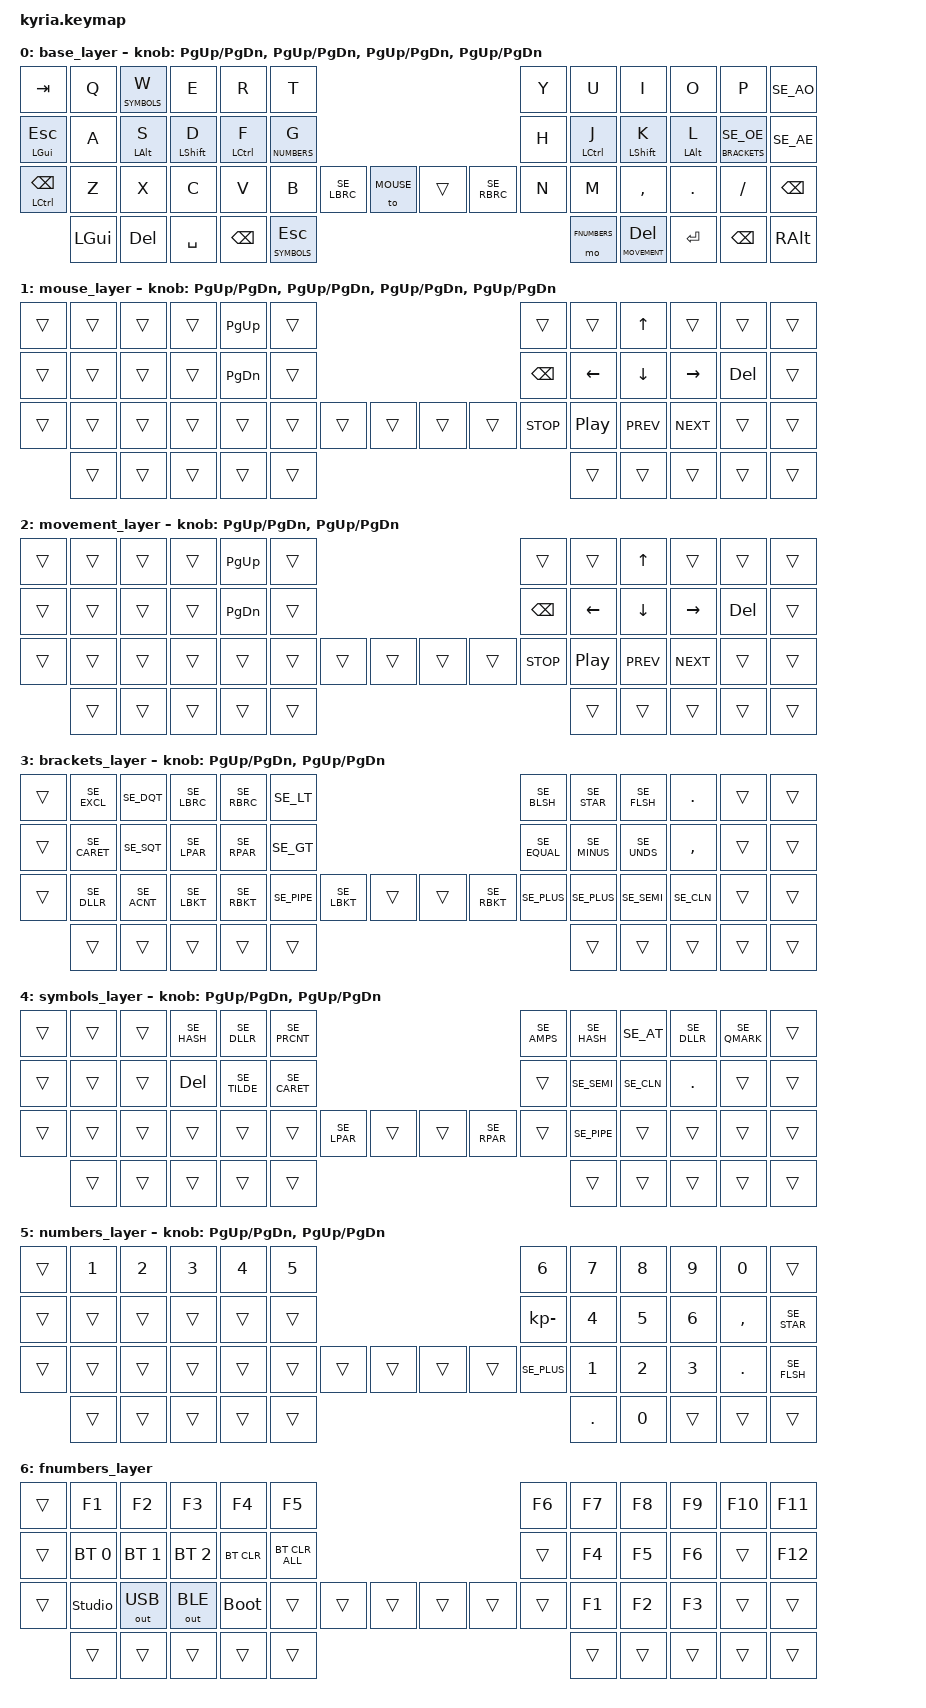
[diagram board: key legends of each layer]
/*
 * Copyright (c) 2020 The ZMK Contributors
 *
 * SPDX-License-Identifier: MIT
 */

#include <behaviors.dtsi>
#include <dt-bindings/zmk/keys.h>
#include <dt-bindings/zmk/bt.h>
#include <dt-bindings/zmk/outputs.h>
#include "swedish_keys.h"

#define BASE       0
#define MOUSE      1
#define MOVEMENT   2
#define BRACKETS   3
#define SYMBOLS    4
#define NUMBERS    5
#define FNUMBERS   6

// kyriaL
// bt addr E1:D8:2A:8C:D5:C8
// kyriaR
// bt addr F0:04:13:99:D9:D6


/ {

  behaviors {
        // Customized mod_tap and layer_tap:
        // - Enables quick_tap. Useful for backspace/space.
        // - Switch to balanced flavor to allow for fast (back)space + character rollovers.
        hr: custom_mod_tap {
            compatible = "zmk,behavior-hold-tap";
            label = "HOMEROW_MODS";
            #binding-cells = <2>;
            tapping-term-ms = <150>;
            quick_tap_ms = <0>;
            flavor = "tap-preferred";
            bindings = <&kp>, <&kp>;
        };
        ltw: custom_layer_tap {
            compatible = "zmk,behavior-hold-tap";
            label = "LAYER_TAP";
            #binding-cells = <2>;
            flavor = "balanced";
            tapping-term-ms = <150>;
            quick_tap_ms = <500>;
            bindings = <&mo>, <&kp>;
        };
        lt_: custom_layer_tap_hp {
            compatible = "zmk,behavior-hold-tap";
            label = "LAYER_TAP_HP";
            #binding-cells = <2>;
            flavor = "hold-preferred";
            tapping-term-ms = <150>;
            quick_tap_ms = <500>;
            bindings = <&mo>, <&kp>;
        };
    };
    keymap {
        compatible = "zmk,keymap";
/*
 * Base Layer: QWERTY 
 *
 * ,-------------------------------------------.                              ,-------------------------------------------.
 * | TAB    |   Q  | SYM/W|  E   |   R  |   T  |                              |   Y  |   U  |   I  |   O  |   P  |   Å    |
 * |--------+------+------+------+------+------|                              |------+------+------+------+------+--------|
 * |LGUI/ESC|   A  | ALT/S|SHFT/D|CTL/F |NUM/G |                              |   H  |CTL/J |SHFT/K|ALT/L |BRA/Ö |   Ä    |
 * |--------+------+------+------+------+------+-------------.  ,-------------+------+------+------+------+------+--------|
 * | Ctrl/BS|   Z  |   X  |   C  |   V  |   B  |      |      |  |      |      |   N  |   M  |   ,  |   .  |    ? |  <--   |
 * `----------------------+------+------+------+------+------|  |------+------+------+------+------+----------------------'
 *                        |      |      | Space|  <-- |      |  |      | Move | Ret  |      |      |
 *                        |      |      |      |      |      |  |      |  Del |      |      |      |
 *                        `----------------------------------'  `----------------------------------'
 */

        base_layer {
            bindings = <
    &kp TAB       &kp Q &ltw SYMBOLS W &kp E       &kp R      &kp T                                                     &kp Y   &kp U      &kp I       &kp O      &kp P               &kp SE_AO
    &hr LGUI ESC  &kp A &hr LALT S     &hr LSHFT D &hr LCTL F &lt_ NUMBERS G                                            &kp H   &hr LCTL J &hr LSHFT K &hr LALT L &ltw BRACKETS SE_OE &kp SE_AE
    &mt LCTL BSPC &kp Z &kp X          &kp C       &kp V      &kp B          &kp SE_LBRC &to MOUSE &trans  &kp SE_RBRC  &kp N   &kp M      &kp COMMA   &kp DOT    &kp FSLH            &kp BSPC
            &kp LGUI &kp DEL &kp SPACE  &kp BSPC &lt SYMBOLS ESC                                                        &mo FNUMBERS &lt_ MOVEMENT DEL &kp RET    &kp BSPC            &kp RALT
            >;

            sensor-bindings = <&inc_dec_kp PG_UP PG_DN &inc_dec_kp PG_UP PG_DN &inc_dec_kp PG_UP PG_DN &inc_dec_kp PG_UP PG_DN>;
        };
/*
 * Mouse Layer:
 *
 * ,-------------------------------------------.                              ,-------------------------------------------.
 * |        |      |      |      |      |      |                              |      |      |      |      |      |        |
 * |--------+------+------+------+------+------|                              |------+------+------+------+------+--------|
 * | ->BASE |      |      |      |      |      |                              |      |      |      |      |      |        |
 * |--------+------+------+------+------+------+-------------.  ,-------------+------+------+------+------+------+--------|
 * |        |      |      |      |      |      |      |      |  |      |      |      |      |      |      |      |        |
 * `----------------------+------+------+------+------+------|  |------+------+------+------+------+----------------------'
 *                        |      |  BT2 |  BT1 | BT3  |      |  |      |      |      |      |      |
 *                        `----------------------------------'  `----------------------------------'
 */

        mouse_layer {
                        bindings = <
    &trans &trans &trans &trans &kp PG_UP   &trans                                          &trans     &trans   &kp UP     &trans &trans &trans
    &trans &trans &trans &trans &kp PG_DN   &trans                                          &kp BSPC   &kp LEFT &kp DOWN   &kp RIGHT  &kp DEL &trans
    &trans &trans &trans &trans &trans  &trans       &trans      &trans &trans &trans   &kp C_STOP &kp C_PP &kp C_PREV &kp C_NEXT &trans &trans
                                     &trans &trans &trans &trans &trans &trans &trans &trans &trans &trans
            >;

            sensor-bindings = <&inc_dec_kp PG_UP PG_DN &inc_dec_kp PG_UP PG_DN &inc_dec_kp PG_UP PG_DN &inc_dec_kp PG_UP PG_DN>;
        };

/*
 * Movement Layer:
 *
 * ,-------------------------------------------.                              ,-------------------------------------------.
 * |        |      |      |      | PGUP |      |                              |      |      |  ^   |      |      |        |
 * |--------+------+------+------+------+------|                              |------+------+------+------+------+--------|
 * | ->BASE |      |      |      | PGDN |      |                              | Bksp | <--  |  v   | -->  | Del  |        |
 * |--------+------+------+------+------+------+-------------.  ,-------------+------+------+------+------+------+--------|
 * |        |      |      |      |      |      |      |      |  |      |      |  []  |  ||  | Prev | Next |      |        |
 * `----------------------+------+------+------+------+------|  |------+------+------+------+------+----------------------'
 *                        |      |      |      |      |      |  |      |      |      |      |      |
 *                        `----------------------------------'  `----------------------------------'
 */
        movement_layer {
                        bindings = <
    &trans &trans &trans &trans &kp PG_UP   &trans                                          &trans     &trans   &kp UP     &trans &trans &trans
    &trans &trans &trans &trans &kp PG_DN   &trans                                          &kp BSPC   &kp LEFT &kp DOWN   &kp RIGHT  &kp DEL &trans
    &trans &trans &trans &trans &trans  &trans       &trans      &trans &trans &trans   &kp C_STOP &kp C_PP &kp C_PREV &kp C_NEXT &trans &trans
                                     &trans &trans &trans &trans &trans &trans &trans &trans &trans &trans
            >;

            sensor-bindings = <&inc_dec_kp PG_UP PG_DN &inc_dec_kp PG_UP PG_DN>;
        };
/*
 * Brackets Layer:
 *
 * ,-------------------------------------------.                              ,-------------------------------------------.
 * |        |  !   |  "   |   {  |   }  |  <   |                              |   \  |  *   |  /   | .    |      |        |
 * |--------+------+------+------+------+------|                              |------+------+------+------+------+--------|
 * | ->BASE |   ^  |   '  |  (   |   )  |  >   |                              |  =   |  -   |  _   | ,    |      |        |
 * |--------+------+------+------+------+------+-------------.  ,-------------+------+------+------+------+------+--------|
 * |        |   $  |  '   |  [   |  ]   |  |   |      |      |  |      |      |  +   |  +   | ;    |   :  |      |        |
 * `----------------------+------+------+------+------+------|  |------+------+------+------+------+----------------------'
 *                        |      |      |      |      |      |  |      |      |      |      |      |
 *                        `----------------------------------'  `----------------------------------'
 */

        brackets_layer {
            bindings = <
    &trans &kp SE_EXCL  &kp SE_DQT  &kp SE_LBRC &kp SE_RBRC &kp SE_LT                                         &kp SE_BLSH  &kp SE_STAR  &kp SE_FLSH &kp DOT     &trans &trans
    &trans &kp SE_CARET &kp SE_SQT  &kp SE_LPAR &kp SE_RPAR &kp SE_GT                                         &kp SE_EQUAL &kp SE_MINUS &kp SE_UNDS &kp COMMA   &trans &trans
    &trans &kp SE_DLLR  &kp SE_ACNT &kp SE_LBKT &kp SE_RBKT &kp SE_PIPE &kp SE_LBKT &trans &trans &kp SE_RBKT &kp SE_PLUS  &kp SE_PLUS  &kp SE_SEMI &kp SE_CLN  &trans &trans
                                     &trans &trans &trans &trans &trans &trans &trans &trans &trans &trans
            >;
            sensor-bindings = <&inc_dec_kp PG_UP PG_DN &inc_dec_kp PG_UP PG_DN>;
        };
/*
 * Symbols Layer:
 *
 * ,-------------------------------------------.                              ,-------------------------------------------.
 * |        |      |      |  #   |  $   |  %   |                              |   &  |  #   |  @   |   $  |  ?   |        |
 * |--------+------+------+------+------+------|                              |------+------+------+------+------+--------|
 * |        |      |      |      |  ~   |  ^   |                              |      |  ;   |  :   |   .  |      |        |
 * |--------+------+------+------+------+------+-------------.  ,-------------+------+------+------+------+------+--------|
 * |        |      |      |      |      |      |      |      |  |      |      |      |  |   |      |      |      |        |
 * `----------------------+------+------+------+------+------|  |------+------+------+------+------+----------------------'
 *                        |      |      |      |      |      |  |      |      |      |      |      |
 *                        `----------------------------------'  `----------------------------------'
 */
        symbols_layer {
            bindings = <
    &trans &trans &trans &kp SE_HASH &kp SE_DLLR  &kp SE_PRCNT                                  &kp SE_AMPS &kp SE_HASH &kp SE_AT  &kp SE_DLLR &kp SE_QMARK &trans
    &trans &trans &trans &kp DEL     &kp SE_TILDE &kp SE_CARET                                  &trans      &kp SE_SEMI &kp SE_CLN &kp DOT    &trans &trans
    &trans &trans &trans &trans      &trans       &trans  &kp SE_LPAR &trans &trans &kp SE_RPAR &trans      &kp SE_PIPE &trans     &trans     &trans &trans
                                     &trans &trans &trans &trans &trans &trans &trans &trans &trans &trans
            >;
            sensor-bindings = <&inc_dec_kp PG_UP PG_DN &inc_dec_kp PG_UP PG_DN>;
        };
/*
 * Numbers Layer:
 *
 * ,-------------------------------------------.                              ,-------------------------------------------.
 * |        |  1   |  2   |  3   |  4   |  5   |                              |   6  |  7   |  8   |   9  |  0   |        |
 * |--------+------+------+------+------+------|                              |------+------+------+------+------+--------|
 * |        |      |      |      |      |      |                              |   -  |  4   |  5   |   6  |  ,   |        |
 * |--------+------+------+------+------+------+-------------.  ,-------------+------+------+------+------+------+--------|
 * |        |      |      |      |      |      |      |      |  |      |      |   +  |  1   |  2   |   3  |  .   |        |
 * `----------------------+------+------+------+------+------|  |------+------+------+------+------+----------------------'
 *                        |      |      |      |      |      |  |   .  |   0  |      |      |      |
 *                        `----------------------------------'  `----------------------------------'
 */
        numbers_layer {
            bindings = <
    &trans &kp N1 &kp N2 &kp N3 &kp N4 &kp N5                                          &kp N6 &kp N7 &kp N8 &kp N9 &kp N0 &trans
    &trans &trans &trans &trans &trans &trans                                          &kp KP_MINUS &kp N4 &kp N5 &kp N6 &kp COMMA &kp SE_STAR
    &trans &trans &trans &trans &trans &trans &trans &trans              &trans &trans &kp SE_PLUS &kp N1 &kp N2 &kp N3 &kp DOT &kp SE_FLSH
                         &trans &trans &trans &trans &trans              &kp DOT       &kp N0 &trans &trans &trans
            >;
            sensor-bindings = <&inc_dec_kp PG_UP PG_DN &inc_dec_kp PG_UP PG_DN>;
        };
/*
 * Numbers Layer:
 *
 * ,-------------------------------------------.                              ,-------------------------------------------.
 * |        | F1   | F2   |  F3  | F4   | F5   |                              |  F6  | F7   | F8   |  F9  | F10  |  F11   |
 * |--------+------+------+------+------+------|                              |------+------+------+------+------+--------|
 * |        |      |      |      |      |      |                              |      | F4   | F5   |  F6  |      |  F12   |
 * |--------+------+------+------+------+------+-------------.  ,-------------+------+------+------+------+------+--------|
 * |        |      |      |      |      |      |      |      |  |      |      |      | F1   | F2   |  F3  |      |        |
 * `----------------------+------+------+------+------+------|  |------+------+------+------+------+----------------------'
 *                        |      |      |      |      |      |  |      |      |      |      |      |
 *                        `----------------------------------'  `----------------------------------'
 */
        fnumbers_layer {
            bindings = <
    &trans &kp F1 &kp F2 &kp F3 &kp F4 &kp F5                                          &kp F6 &kp F7 &kp F8 &kp F9 &kp F10 &kp F11
    &trans &bt BT_SEL 0 &bt BT_SEL 1 &bt BT_SEL 2 &bt BT_CLR &bt BT_CLR_ALL           &trans &kp F4 &kp F5 &kp F6 &trans  &kp F12
    &trans &studio_unlock &out OUT_USB &out OUT_BLE &bootloader &trans &trans &trans   &trans &trans &trans &kp F1 &kp F2 &kp F3 &trans  &trans
                                     &trans &trans &trans &trans &trans  &trans &trans &trans &trans &trans
            >;
        };

    };
};
